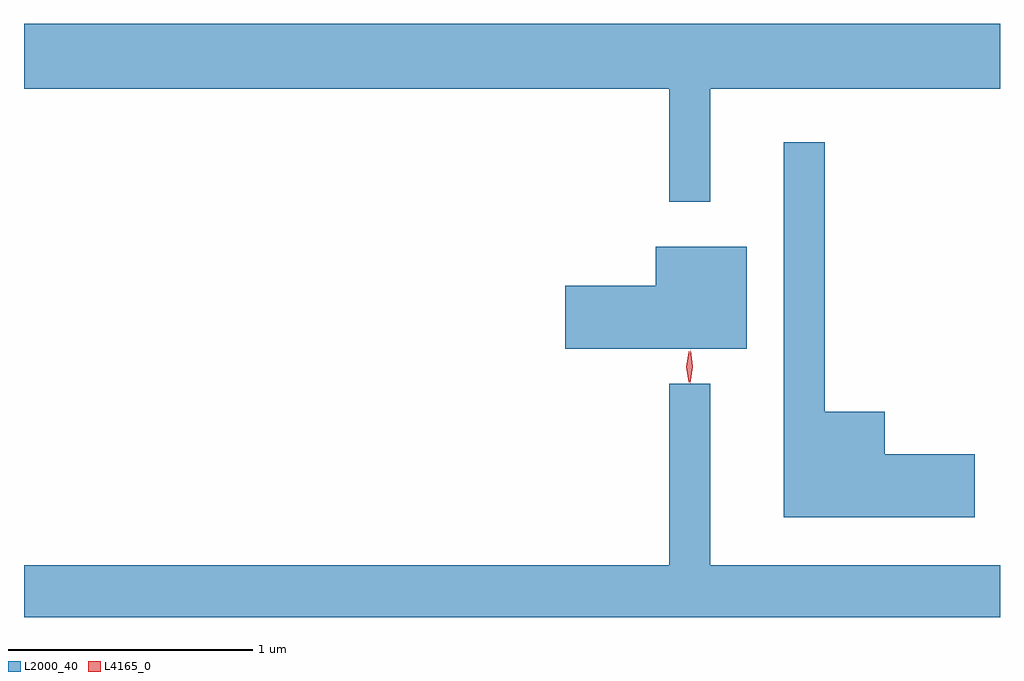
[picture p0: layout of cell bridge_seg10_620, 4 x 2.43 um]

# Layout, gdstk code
import gdstk
lib = gdstk.Library(unit=1e-6, precision=1e-09)
def P(c, l, *ps):  # polygons
    for p in ps: c.add(gdstk.Polygon(p, *l))
L2000_40 = (2000, 40)
L4165_0 = (4165, 0)

bridge_seg10_620 = lib.new_cell('bridge_seg10_620')
P(bridge_seg10_620, L2000_40, [(691.709,2089.496),(692.897,2089.496),(692.897,2089.764),(688.897,2089.764),(688.897,2089.496),(691.541,2089.496),(691.541,2089.033),(691.709,2089.033)],
  [(692.794,2087.999),(692.424,2087.999),(692.424,2088.174),(692.179,2088.174),(692.179,2089.278),(692.011,2089.278),(692.011,2087.741),(692.794,2087.741)],
  [(691.859,2088.849),(691.486,2088.849),(691.486,2088.689),(691.116,2088.689),(691.116,2088.431),(691.859,2088.431)],
  [(692.897,2087.544),(691.709,2087.544),(691.709,2088.288),(691.541,2088.288),(691.541,2087.544),(688.897,2087.544),(688.897,2087.33),(692.897,2087.33)])
P(bridge_seg10_620, L4165_0, [(691.627,2088.29),(691.618,2088.358),(691.629,2088.425),(691.629,2088.426),(691.63,2088.425),(691.638,2088.358),(691.628,2088.29),(691.628,2088.29)],
  [(691.622,2088.293),(691.622,2088.294),(691.612,2088.356),(691.622,2088.419),(691.622,2088.42),(691.623,2088.419),(691.632,2088.356),(691.623,2088.294)])

lib.write_gds('bridge_seg10_620.gds')
